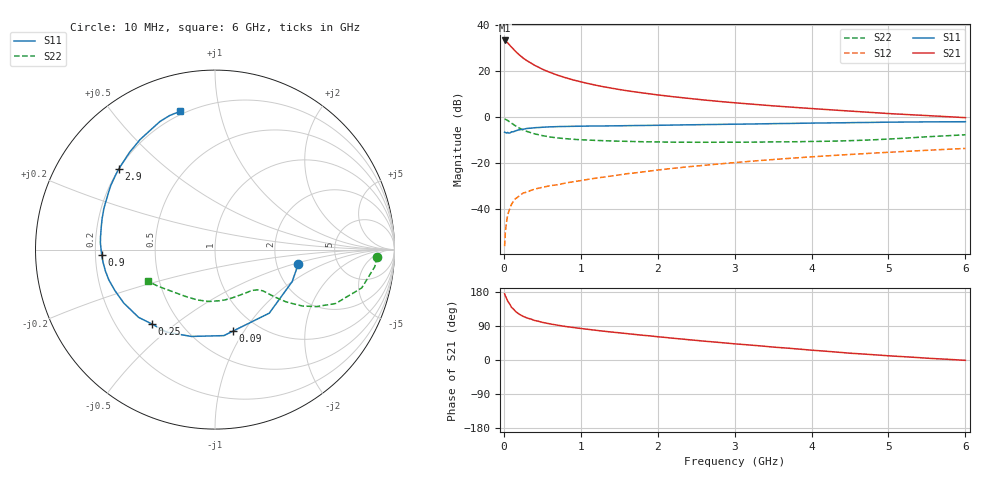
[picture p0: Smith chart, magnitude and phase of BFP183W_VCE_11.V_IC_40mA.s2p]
! Infineon Technologies  Discrete & RF Semiconductors
! BFP183W
! VCE =  11. V,  IC =  40 mA
! Common Emitter S-Parameters:  Jan 2017
# GHz  S  MA  R  50
!  f  S11  S21  S12  S22
! GHz  MAG  ANG  MAG  ANG  MAG  ANG  MAG  ANG
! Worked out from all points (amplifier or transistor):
!   77 points, 10 MHz to 6 GHz, reference 50 ohm
!   highest |S21| = 33.2 dB at 10 MHz (marker M1)
!   |S21| within 3 dB of that: start of sweep to 103.6 MHz
!   unconditionally stable (mu >= 1): start of sweep to 12.28 MHz; 976.7 MHz to 3.838 GHz
!   at 130 MHz: K = 0.45, MSG = 32.8 dB, |S12| = -36.3 dB
!   at 2.2 GHz: K = 1.11, MAG = 13.5 dB, |S12| = -22.2 dB
!   at 6 GHz: K = 0.85, MSG = 6.7 dB, |S12| = -13.6 dB
!   S11 on the Smith chart (normalised r, x): 10 MHz: 2.66, -0.54; 90 MHz: 0.77, -0.89; 250 MHz: 0.35, -0.41; 900 MHz: 0.23, -0.02; 2.9 GHz: 0.20, +0.35; 6 GHz: 0.18, +0.76
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0.01  0.4712 -9.6  45.76 174.5  0.0016 53.4  0.903 -2.6
0.02  0.4656 -22.5  44.88 169.0  0.0032 78.5  0.8953 -6.1
0.05  0.4656 -49.5  40.59 155.4  0.0075 67.5  0.8451 -14.6
0.09  0.4651 -77.6  34.16 142.8  0.0118 61.4  0.7571 -21.9
0.1  0.4818 -84.1  32.87 138.9  0.0129 60.5  0.7373 -24.0
0.15  0.5014 -105.2  26.68 128.5  0.017 55.3  0.6487 -29.3
0.2  0.5327 -120.3  22.36 120.9  0.0195 53.0  0.5805 -32.8
0.25  0.5437 -130.4  19.07 115.3  0.0226 50.0  0.5301 -34.7
0.3  0.5689 -138.4  16.66 111.0  0.0238 48.6  0.4893 -36.4
0.4  0.5891 -149.6  13.25 104.4  0.0276 47.7  0.4339 -38.1
0.5  0.6028 -157.8  10.92 99.4  0.0301 47.8  0.3974 -39.2
0.6  0.6151 -164.1  9.306 95.3  0.0326 48.1  0.3714 -40.0
0.7  0.6224 -169.1  8.081 91.8  0.0343 49.4  0.3534 -40.7
0.9  0.6319 -177.1  6.398 85.8  0.0397 52.3  0.3311 -42.9
1.1  0.6398 176.6  5.313 80.8  0.045 55.0  0.3183 -45.2
1.5  0.6489 166.6  3.963 71.8  0.0559 57.7  0.3008 -51.2
2.1  0.6683 154.0  2.894 59.5  0.0744 59.5  0.288 -62.7
2.9  0.6986 140.2  2.114 44.5  0.1 58.4  0.2857 -81.8
3.1  0.7052 137.1  1.982 41.1  0.1068 57.7  0.286 -86.6
4.1  0.7444 122.9  1.494 24.5  0.1412 53.1  0.2981 -111.8
5.1  0.7789 112.3  1.17 9.9  0.1765 47.4  0.3416 -138.3
6  0.7947 104.1  0.974 -1.0  0.2097 41.3  0.4144 -154.8
